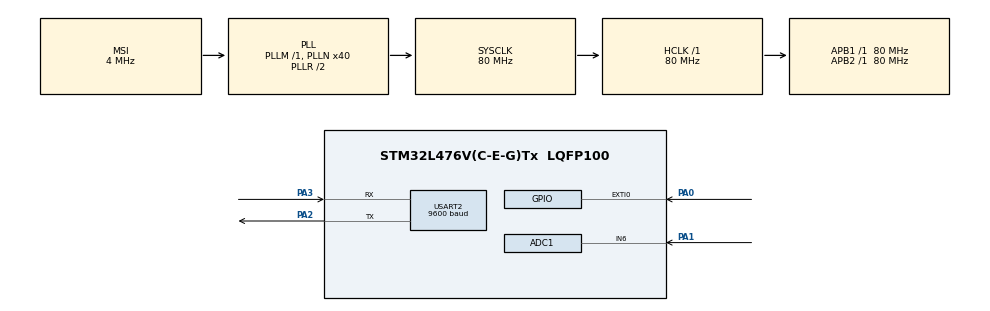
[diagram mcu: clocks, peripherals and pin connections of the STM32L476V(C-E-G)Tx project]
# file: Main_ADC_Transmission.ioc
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ADC1.Channel-0\#ChannelRegularConversion=ADC_CHANNEL_6
ADC1.ContinuousConvMode=ENABLE
ADC1.DMAContinuousRequests=ENABLE
ADC1.EOCSelection=ADC_EOC_SEQ_CONV
ADC1.LowPowerAutoWait=ENABLE
ADC1.NbrOfConversionFlag=1
ADC1.OffsetNumber-0\#ChannelRegularConversion=ADC_OFFSET_NONE
ADC1.OversamplingMode=ENABLE
ADC1.Rank-0\#ChannelRegularConversion=1
ADC1.Ratio=ADC_OVERSAMPLING_RATIO_256
ADC1.RightBitShift=ADC_RIGHTBITSHIFT_8
ADC1.SamplingTime-0\#ChannelRegularConversion=ADC_SAMPLETIME_2CYCLES_5
ADC1.master=1
Dma.ADC1.0.Direction=DMA_PERIPH_TO_MEMORY
Dma.ADC1.0.Instance=DMA1_Channel1
Dma.ADC1.0.MemDataAlignment=DMA_MDATAALIGN_WORD
Dma.ADC1.0.MemInc=DMA_MINC_ENABLE
Dma.ADC1.0.Mode=DMA_CIRCULAR
Dma.ADC1.0.PeriphDataAlignment=DMA_PDATAALIGN_WORD
Dma.ADC1.0.PeriphInc=DMA_PINC_DISABLE
Dma.ADC1.0.Priority=DMA_PRIORITY_LOW
Dma.Request0=ADC1
Dma.Request1=USART2_RX
Dma.Request2=USART2_TX
Dma.USART2_RX.1.Direction=DMA_PERIPH_TO_MEMORY
Dma.USART2_RX.1.Instance=DMA1_Channel6
Dma.USART2_RX.1.MemDataAlignment=DMA_MDATAALIGN_BYTE
Dma.USART2_RX.1.MemInc=DMA_MINC_ENABLE
Dma.USART2_RX.1.Mode=DMA_CIRCULAR
Dma.USART2_RX.1.PeriphDataAlignment=DMA_PDATAALIGN_BYTE
Dma.USART2_RX.1.PeriphInc=DMA_PINC_DISABLE
Dma.USART2_RX.1.Priority=DMA_PRIORITY_LOW
Dma.USART2_TX.2.Direction=DMA_MEMORY_TO_PERIPH
Dma.USART2_TX.2.Instance=DMA1_Channel7
Dma.USART2_TX.2.MemDataAlignment=DMA_MDATAALIGN_BYTE
Dma.USART2_TX.2.MemInc=DMA_MINC_ENABLE
Dma.USART2_TX.2.Mode=DMA_CIRCULAR
Dma.USART2_TX.2.PeriphDataAlignment=DMA_PDATAALIGN_BYTE
Dma.USART2_TX.2.PeriphInc=DMA_PINC_DISABLE
Dma.USART2_TX.2.Priority=DMA_PRIORITY_LOW
Mcu.Family=STM32L4
Mcu.Name=STM32L476V(C-E-G)Tx
Mcu.Package=LQFP100
NVIC.ADC1_2_IRQn=true\:0\:0\:false\:false\:true\:true
NVIC.DMA1_Channel1_IRQn=true\:0\:0\:false\:false\:true\:false
NVIC.DMA1_Channel6_IRQn=true\:0\:0\:false\:false\:true\:false
NVIC.DMA1_Channel7_IRQn=true\:0\:0\:false\:false\:true\:false
NVIC.EXTI0_IRQn=true\:0\:0\:false\:true\:true\:1\:true
NVIC.PriorityGroup=NVIC_PRIORITYGROUP_4
NVIC.USART2_IRQn=true\:0\:0\:false\:false\:true\:true
PA0.Signal=GPXTI0
PA1.Signal=ADCx_IN6
PA13\ (JTMS-SWDIO).Mode=Serial_Wire
PA13\ (JTMS-SWDIO).Signal=SYS_JTMS-SWDIO
PA14\ (JTCK-SWCLK).Mode=Serial_Wire
PA14\ (JTCK-SWCLK).Signal=SYS_JTCK-SWCLK
PA2.Mode=Asynchronous
PA2.Signal=USART2_TX
PA3.Mode=Asynchronous
PA3.Signal=USART2_RX
ProjectManager.HeapSize=0x200
ProjectManager.StackSize=0x400
ProjectManager.TargetToolchain=MDK-ARM V5
RCC.ADCCLockSelection=RCC_ADCCLKSOURCE_SYSCLK
RCC.ADCFreq_Value=80000000
RCC.AHBFreq_Value=80000000
RCC.APB1Freq_Value=80000000
RCC.APB1TimFreq_Value=80000000
RCC.APB2Freq_Value=80000000
RCC.APB2TimFreq_Value=80000000
RCC.CortexFreq_Value=80000000
RCC.HCLKFreq_Value=80000000
RCC.HSE_VALUE=8000000
RCC.HSI_VALUE=16000000
RCC.LSE_VALUE=32768
RCC.MSI_VALUE=4000000
RCC.PLLN=40
RCC.PLLSAI1N=16
RCC.PREFETCH_ENABLE=1
RCC.SYSCLKFreq_VALUE=80000000
RCC.SYSCLKSource=RCC_SYSCLKSOURCE_PLLCLK
RCC.USBFreq_Value=32000000
RCC.VCOOutputFreq_Value=160000000
SH.ADCx_IN6.0=ADC1_IN6,IN6-Single-Ended
USART2.BaudRate=9600
USART2.VirtualMode-Asynchronous=VM_ASYNC
USART2.WordLength=WORDLENGTH_8B
VP_RTC_VS_RTC_Activate.Mode=RTC_Enabled
VP_RTC_VS_RTC_Calendar.Mode=RTC_Calendar
board=32L476GDISCOVERY

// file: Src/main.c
/* USER CODE BEGIN Header */
/**
  ******************************************************************************
  * @file           : main.c
  * @brief          : Main program body
  ******************************************************************************
  ** This notice applies to any and all portions of this file
  * that are not between comment pairs USER CODE BEGIN and
  * USER CODE END. Other portions of this file, whether
  * inserted by the user or by software development tools
  * are owned by their respective copyright owners.
  *
  * COPYRIGHT(c) 2019 STMicroelectronics
  *
  * Redistribution and use in source and binary forms, with or without modification,
  * are permitted provided that the following conditions are met:
  *   1. Redistributions of source code must retain the above copyright notice,
  *      this list of conditions and the following disclaimer.
  *   2. Redistributions in binary form must reproduce the above copyright notice,
  *      this list of conditions and the following disclaimer in the documentation
  *      and/or other materials provided with the distribution.
  *   3. Neither the name of STMicroelectronics nor the names of its contributors
  *      may be used to endorse or promote products derived from this software
  *      without specific prior written permission.
  *
  * THIS SOFTWARE IS PROVIDED BY THE COPYRIGHT HOLDERS AND CONTRIBUTORS "AS IS"
  * AND ANY EXPRESS OR IMPLIED WARRANTIES, INCLUDING, BUT NOT LIMITED TO, THE
  * IMPLIED WARRANTIES OF MERCHANTABILITY AND FITNESS FOR A PARTICULAR PURPOSE ARE
  * DISCLAIMED. IN NO EVENT SHALL THE COPYRIGHT HOLDER OR CONTRIBUTORS BE LIABLE
  * FOR ANY DIRECT, INDIRECT, INCIDENTAL, SPECIAL, EXEMPLARY, OR CONSEQUENTIAL
  * DAMAGES (INCLUDING, BUT NOT LIMITED TO, PROCUREMENT OF SUBSTITUTE GOODS OR
  * SERVICES; LOSS OF USE, DATA, OR PROFITS; OR BUSINESS INTERRUPTION) HOWEVER
  * CAUSED AND ON ANY THEORY OF LIABILITY, WHETHER IN CONTRACT, STRICT LIABILITY,
  * OR TORT (INCLUDING NEGLIGENCE OR OTHERWISE) ARISING IN ANY WAY OUT OF THE USE
  * OF THIS SOFTWARE, EVEN IF ADVISED OF THE POSSIBILITY OF SUCH DAMAGE.
  *
  ******************************************************************************
  */
/* USER CODE END Header */

#include "main.h"

/* USER CODE BEGIN Includes */
#include "adc_conv.h"
#include "glucose_packet.h"

/* USER CODE END Includes */

ADC_HandleTypeDef hadc1;
DMA_HandleTypeDef hdma_adc1;

RTC_HandleTypeDef hrtc;

UART_HandleTypeDef huart2;
DMA_HandleTypeDef hdma_usart2_rx;
DMA_HandleTypeDef hdma_usart2_tx;

void SystemClock_Config(void);
static void MX_GPIO_Init(void);
static void MX_DMA_Init(void);
static void MX_ADC1_Init(void);
static void MX_RTC_Init(void);
static void MX_USART2_UART_Init(void);
static void MX_NVIC_Init(void);

/* USER CODE BEGIN 0 */
uint32_t value;
GlucoseData main_data;
GlucosePacket main_packet;

uint8_t* data_buffer;
uint8_t* uart_buffer;
uint8_t* data_validity;
uint8_t ADC_READY;

void HAL_GPIO_EXTI_Callback(uint16_t GPIO_Pin)
{
	if(HAL_GPIO_ReadPin(GPIOA, GPIO_Pin))
	{
		 if (ADC_READY) HAL_UART_Transmit(&huart2, (uint8_t*)"Hello, World!\n", 15, 1000);
	}
	HAL_GPIO_EXTI_IRQHandler(GPIO_Pin);
}

/* USER CODE END 0 */

int main(void)
{

  /* MCU Configuration--------------------------------------------------------*/

  /* Reset of all peripherals, Initializes the Flash interface and the Systick. */
  HAL_Init();

  /* Configure the system clock */
  SystemClock_Config();

  /* Initialize all configured peripherals */
  MX_GPIO_Init();
  MX_DMA_Init();
  MX_ADC1_Init();
  MX_RTC_Init();
  MX_USART2_UART_Init();

  /* Initialize interrupts */
  MX_NVIC_Init();

  /* Infinite loop */
  while (1)
  {

    /* USER CODE BEGIN 3 */
		ADC_READY = 0;
		HAL_ADC_Start(&hadc1);
		HAL_Delay(1000);
		if (HAL_ADC_PollForConversion(&hadc1, 1000000) == HAL_OK)
    {
			value = HAL_ADC_GetValue(&hadc1);
    }
		value = process_ADC_result(value);
		main_data = pack_glucose_data(value);
		data_buffer = prepare_data_buffer(main_data);
		main_packet = pack_glucose_packet(data_buffer);
		uart_buffer = create_uart_buffer(main_packet);
		HAL_UART_Transmit(&huart2, (uint8_t*)uart_buffer, 10, 1000);
		free(data_buffer);
		free(main_packet.data);
		free(uart_buffer);
		ADC_READY = 1;
	  HAL_ADC_Stop(&hadc1);
  }
  /* USER CODE END 3 */
}

void SystemClock_Config(void)
{
  RCC_OscInitTypeDef RCC_OscInitStruct = {0};
  RCC_ClkInitTypeDef RCC_ClkInitStruct = {0};
  RCC_PeriphCLKInitTypeDef PeriphClkInit = {0};

  /**Initializes the CPU, AHB and APB busses clocks
  */
  RCC_OscInitStruct.OscillatorType = RCC_OSCILLATORTYPE_LSI|RCC_OSCILLATORTYPE_MSI;
  RCC_OscInitStruct.LSIState = RCC_LSI_ON;
  RCC_OscInitStruct.MSIState = RCC_MSI_ON;
  RCC_OscInitStruct.MSICalibrationValue = 0;
  RCC_OscInitStruct.MSIClockRange = RCC_MSIRANGE_6;
  RCC_OscInitStruct.PLL.PLLState = RCC_PLL_ON;
  RCC_OscInitStruct.PLL.PLLSource = RCC_PLLSOURCE_MSI;
  RCC_OscInitStruct.PLL.PLLM = 1;
  RCC_OscInitStruct.PLL.PLLN = 40;
  RCC_OscInitStruct.PLL.PLLP = RCC_PLLP_DIV7;
  RCC_OscInitStruct.PLL.PLLQ = RCC_PLLQ_DIV2;
  RCC_OscInitStruct.PLL.PLLR = RCC_PLLR_DIV2;
  if (HAL_RCC_OscConfig(&RCC_OscInitStruct) != HAL_OK)
  {
    Error_Handler();
  }
  /**Initializes the CPU, AHB and APB busses clocks
  */
  RCC_ClkInitStruct.ClockType = RCC_CLOCKTYPE_HCLK|RCC_CLOCKTYPE_SYSCLK
                              |RCC_CLOCKTYPE_PCLK1|RCC_CLOCKTYPE_PCLK2;
  RCC_ClkInitStruct.SYSCLKSource = RCC_SYSCLKSOURCE_PLLCLK;
  RCC_ClkInitStruct.AHBCLKDivider = RCC_SYSCLK_DIV1;
  RCC_ClkInitStruct.APB1CLKDivider = RCC_HCLK_DIV1;
  RCC_ClkInitStruct.APB2CLKDivider = RCC_HCLK_DIV1;

  if (HAL_RCC_ClockConfig(&RCC_ClkInitStruct, FLASH_LATENCY_4) != HAL_OK)
  {
    Error_Handler();
  }
  PeriphClkInit.PeriphClockSelection = RCC_PERIPHCLK_RTC|RCC_PERIPHCLK_USART2
                              |RCC_PERIPHCLK_ADC;
  PeriphClkInit.Usart2ClockSelection = RCC_USART2CLKSOURCE_PCLK1;
  PeriphClkInit.AdcClockSelection = RCC_ADCCLKSOURCE_SYSCLK;
  PeriphClkInit.RTCClockSelection = RCC_RTCCLKSOURCE_LSI;
  if (HAL_RCCEx_PeriphCLKConfig(&PeriphClkInit) != HAL_OK)
  {
    Error_Handler();
  }
  /**Configure the main internal regulator output voltage
  */
  if (HAL_PWREx_ControlVoltageScaling(PWR_REGULATOR_VOLTAGE_SCALE1) != HAL_OK)
  {
    Error_Handler();
  }
}

/**
  * @brief NVIC Configuration.
  * @retval None
  */
static void MX_NVIC_Init(void)
{
  /* EXTI0_IRQn interrupt configuration */
  HAL_NVIC_SetPriority(EXTI0_IRQn, 0, 0);
  HAL_NVIC_EnableIRQ(EXTI0_IRQn);
}

static void MX_ADC1_Init(void)
{

  ADC_MultiModeTypeDef multimode = {0};
  ADC_ChannelConfTypeDef sConfig = {0};

  /**Common config
  */
  hadc1.Instance = ADC1;
  hadc1.Init.ClockPrescaler = ADC_CLOCK_ASYNC_DIV1;
  hadc1.Init.Resolution = ADC_RESOLUTION_12B;
  hadc1.Init.DataAlign = ADC_DATAALIGN_RIGHT;
  hadc1.Init.ScanConvMode = ADC_SCAN_DISABLE;
  hadc1.Init.EOCSelection = ADC_EOC_SEQ_CONV;
  hadc1.Init.LowPowerAutoWait = ENABLE;
  hadc1.Init.ContinuousConvMode = ENABLE;
  hadc1.Init.NbrOfConversion = 1;
  hadc1.Init.DiscontinuousConvMode = DISABLE;
  hadc1.Init.ExternalTrigConv = ADC_SOFTWARE_START;
  hadc1.Init.ExternalTrigConvEdge = ADC_EXTERNALTRIGCONVEDGE_NONE;
  hadc1.Init.DMAContinuousRequests = ENABLE;
  hadc1.Init.Overrun = ADC_OVR_DATA_PRESERVED;
  hadc1.Init.OversamplingMode = ENABLE;
  hadc1.Init.Oversampling.Ratio = ADC_OVERSAMPLING_RATIO_256;
  hadc1.Init.Oversampling.RightBitShift = ADC_RIGHTBITSHIFT_8;
  hadc1.Init.Oversampling.TriggeredMode = ADC_TRIGGEREDMODE_SINGLE_TRIGGER;
  hadc1.Init.Oversampling.OversamplingStopReset = ADC_REGOVERSAMPLING_CONTINUED_MODE;
  if (HAL_ADC_Init(&hadc1) != HAL_OK)
  {
    Error_Handler();
  }
  /**Configure the ADC multi-mode
  */
  multimode.Mode = ADC_MODE_INDEPENDENT;
  if (HAL_ADCEx_MultiModeConfigChannel(&hadc1, &multimode) != HAL_OK)
  {
    Error_Handler();
  }
  /**Configure Regular Channel
  */
  sConfig.Channel = ADC_CHANNEL_6;
  sConfig.Rank = ADC_REGULAR_RANK_1;
  sConfig.SamplingTime = ADC_SAMPLETIME_2CYCLES_5;
  sConfig.SingleDiff = ADC_SINGLE_ENDED;
  sConfig.OffsetNumber = ADC_OFFSET_NONE;
  sConfig.Offset = 0;
  if (HAL_ADC_ConfigChannel(&hadc1, &sConfig) != HAL_OK)
  {
    Error_Handler();
  }

}

static void MX_RTC_Init(void)
{

  RTC_TimeTypeDef sTime = {0};
  RTC_DateTypeDef sDate = {0};

  /**Initialize RTC Only
  */
  hrtc.Instance = RTC;
  hrtc.Init.HourFormat = RTC_HOURFORMAT_24;
  hrtc.Init.AsynchPrediv = 127;
  hrtc.Init.SynchPrediv = 255;
  hrtc.Init.OutPut = RTC_OUTPUT_DISABLE;
  hrtc.Init.OutPutRemap = RTC_OUTPUT_REMAP_NONE;
  hrtc.Init.OutPutPolarity = RTC_OUTPUT_POLARITY_HIGH;
  hrtc.Init.OutPutType = RTC_OUTPUT_TYPE_OPENDRAIN;
  if (HAL_RTC_Init(&hrtc) != HAL_OK)
  {
    Error_Handler();
  }

  /**Initialize RTC and set the Time and Date
  */
  sTime.Hours = 0x0;
  sTime.Minutes = 0x0;
  sTime.Seconds = 0x0;
  sTime.DayLightSaving = RTC_DAYLIGHTSAVING_NONE;
  sTime.StoreOperation = RTC_STOREOPERATION_RESET;
  if (HAL_RTC_SetTime(&hrtc, &sTime, RTC_FORMAT_BCD) != HAL_OK)
  {
    Error_Handler();
  }
  sDate.WeekDay = RTC_WEEKDAY_MONDAY;
  sDate.Month = RTC_MONTH_JANUARY;
  sDate.Date = 0x1;
  sDate.Year = 0x0;

  if (HAL_RTC_SetDate(&hrtc, &sDate, RTC_FORMAT_BCD) != HAL_OK)
  {
    Error_Handler();
  }

}

static void MX_USART2_UART_Init(void)
{

  huart2.Instance = USART2;
  huart2.Init.BaudRate = 9600;
  huart2.Init.WordLength = UART_WORDLENGTH_8B;
  huart2.Init.StopBits = UART_STOPBITS_1;
  huart2.Init.Parity = UART_PARITY_NONE;
  huart2.Init.Mode = UART_MODE_TX_RX;
  huart2.Init.HwFlowCtl = UART_HWCONTROL_NONE;
  huart2.Init.OverSampling = UART_OVERSAMPLING_16;
  huart2.Init.OneBitSampling = UART_ONE_BIT_SAMPLE_DISABLE;
  huart2.AdvancedInit.AdvFeatureInit = UART_ADVFEATURE_NO_INIT;
  if (HAL_UART_Init(&huart2) != HAL_OK)
  {
    Error_Handler();
  }

}

static void MX_DMA_Init(void)
{
  /* DMA controller clock enable */
  __HAL_RCC_DMA1_CLK_ENABLE();

  /* DMA interrupt init */
  /* DMA1_Channel1_IRQn interrupt configuration */
  HAL_NVIC_SetPriority(DMA1_Channel1_IRQn, 0, 0);
  HAL_NVIC_EnableIRQ(DMA1_Channel1_IRQn);
  /* DMA1_Channel6_IRQn interrupt configuration */
  HAL_NVIC_SetPriority(DMA1_Channel6_IRQn, 0, 0);
  HAL_NVIC_EnableIRQ(DMA1_Channel6_IRQn);
  /* DMA1_Channel7_IRQn interrupt configuration */
  HAL_NVIC_SetPriority(DMA1_Channel7_IRQn, 0, 0);
  HAL_NVIC_EnableIRQ(DMA1_Channel7_IRQn);

}

static void MX_GPIO_Init(void)
{
  GPIO_InitTypeDef GPIO_InitStruct = {0};

  /* GPIO Ports Clock Enable */
  __HAL_RCC_GPIOA_CLK_ENABLE();

  /*Configure GPIO pin : PA0 */
  GPIO_InitStruct.Pin = GPIO_PIN_0;
  GPIO_InitStruct.Mode = GPIO_MODE_IT_RISING;
  GPIO_InitStruct.Pull = GPIO_NOPULL;
  HAL_GPIO_Init(GPIOA, &GPIO_InitStruct);

}

void Error_Handler(void)
{
}

/************************ (C) COPYRIGHT STMicroelectronics *****END OF FILE****/
